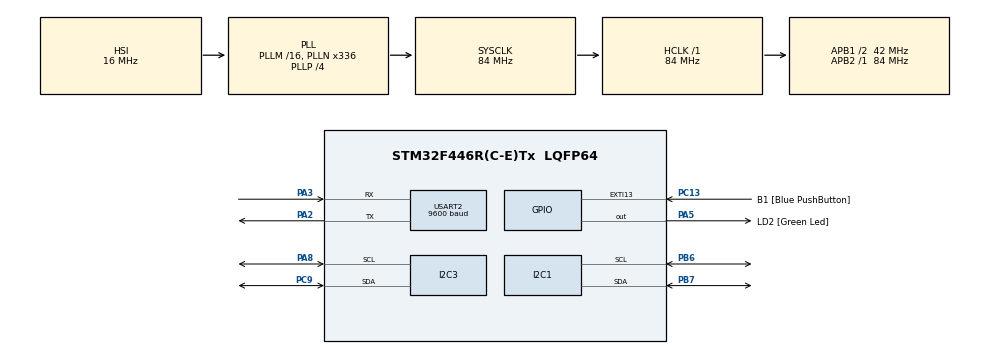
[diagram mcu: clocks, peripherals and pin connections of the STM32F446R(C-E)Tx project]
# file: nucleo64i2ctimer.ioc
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Mcu.Family=STM32F4
Mcu.Name=STM32F446R(C-E)Tx
Mcu.Package=LQFP64
NVIC.PriorityGroup=NVIC_PRIORITYGROUP_0
NVIC.TIM6_DAC_IRQn=true\:0\:0\:false\:false\:true\:true\:true
PA13.GPIO_Label=TMS
PA13.Mode=Trace_Asynchronous_SW
PA13.Signal=SYS_JTMS-SWDIO
PA14.GPIO_Label=TCK
PA14.Mode=Trace_Asynchronous_SW
PA14.Signal=SYS_JTCK-SWCLK
PA2.Mode=Asynchronous
PA2.Signal=USART2_TX
PA3.Mode=Asynchronous
PA3.Signal=USART2_RX
PA5.GPIO_Label=LD2 [Green Led]
PA5.Signal=GPIO_Output
PA8.Mode=I2C
PA8.Signal=I2C3_SCL
PB3.GPIO_Label=SWO
PB3.Mode=Trace_Asynchronous_SW
PB3.Signal=SYS_JTDO-SWO
PB6.Mode=I2C
PB6.Signal=I2C1_SCL
PB7.Mode=I2C
PB7.Signal=I2C1_SDA
PC13.GPIO_Label=B1 [Blue PushButton]
PC13.GPIO_ModeDefaultEXTI=GPIO_MODE_IT_FALLING
PC13.Signal=GPXTI13
PC14-OSC32_IN.Mode=LSE-External-Oscillator
PC14-OSC32_IN.Signal=RCC_OSC32_IN
PC15-OSC32_OUT.Mode=LSE-External-Oscillator
PC15-OSC32_OUT.Signal=RCC_OSC32_OUT
PC9.Mode=I2C
PC9.Signal=I2C3_SDA
PH0-OSC_IN.Mode=HSE-External-Oscillator
PH0-OSC_IN.Signal=RCC_OSC_IN
PH1-OSC_OUT.Mode=HSE-External-Oscillator
PH1-OSC_OUT.Signal=RCC_OSC_OUT
ProjectManager.HeapSize=0x200
ProjectManager.StackSize=0x400
ProjectManager.TargetToolchain=MDK-ARM V5.27
RCC.48MHZClocksFreq_Value=84000000
RCC.AHBFreq_Value=84000000
RCC.APB1CLKDivider=RCC_HCLK_DIV2
RCC.APB1Freq_Value=42000000
RCC.APB1TimFreq_Value=84000000
RCC.APB2Freq_Value=84000000
RCC.APB2TimFreq_Value=84000000
RCC.CortexFreq_Value=84000000
RCC.FLatency-AdvancedSettings=FLASH_LATENCY_2
RCC.HCLKFreq_Value=84000000
RCC.HSE_VALUE=8000000
RCC.HSI_VALUE=16000000
RCC.PLLN=336
RCC.PLLP=RCC_PLLP_DIV4
RCC.SYSCLKFreq_VALUE=84000000
RCC.SYSCLKSource=RCC_SYSCLKSOURCE_PLLCLK
RCC.USBFreq_Value=168000000
RCC.VCOOutputFreq_Value=336000000
TIM6.Period=999
TIM6.Prescaler=41999
USART2.BaudRate=9600
USART2.VirtualMode=VM_ASYNC
VP_TIM6_VS_ClockSourceINT.Mode=Enable_Timer
board=NUCLEO-F446RE

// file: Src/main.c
/* USER CODE BEGIN Header */
/**
  ******************************************************************************
  * @file           : main.c
  * @brief          : Main program body
  ******************************************************************************
  * @attention
  *
  * <h2><center>&copy; Copyright (c) 2019 STMicroelectronics.
  * All rights reserved.</center></h2>
  *
  * This software component is licensed by ST under BSD 3-Clause license,
  * the "License"; You may not use this file except in compliance with the
  * License. You may obtain a copy of the License at:
  *                        opensource.org/licenses/BSD-3-Clause
  *
  ******************************************************************************
  */
/* USER CODE END Header */

#include "main.h"
/* USER CODE BEGIN Includes */
#include "stdio.h"
#define MPU9265ADRESS 0xD0
/* USER CODE END Includes */

I2C_HandleTypeDef hi2c1;
I2C_HandleTypeDef hi2c3;

TIM_HandleTypeDef htim6;

UART_HandleTypeDef huart2;

/* USER CODE BEGIN PV */

float data[6];
char uartmatlab[100];

/* USER CODE END PV */

void SystemClock_Config(void);
static void MX_GPIO_Init(void);
static void MX_I2C3_Init(void);
static void MX_TIM6_Init(void);
static void MX_I2C1_Init(void);
static void MX_USART2_UART_Init(void);
/* USER CODE BEGIN PFP */

void getSensor(void);
void initSensor(void);
void printSensor(void);

/* USER CODE END PFP */

int main(void)
{

  /* MCU Configuration--------------------------------------------------------*/

  /* Reset of all peripherals, Initializes the Flash interface and the Systick. */
  HAL_Init();

  /* Configure the system clock */
  SystemClock_Config();

  /* Initialize all configured peripherals */
  MX_GPIO_Init();
  MX_I2C3_Init();
  MX_TIM6_Init();
  MX_I2C1_Init();
  MX_USART2_UART_Init();
  /* USER CODE BEGIN 2 */
	initSensor();
	//uint8_t check = 0;
  /* USER CODE END 2 */

  /* Infinite loop */
  /* USER CODE BEGIN WHILE */
  while (1)
  {

/*
		HAL_I2C_Mem_Read(&hi2c1,0xD0,0x75,1,&check,1,1000);
		printf("%d \n",check);
		HAL_Delay(1000);

*/
    /* USER CODE END WHILE */

  }
}

void SystemClock_Config(void)
{
  RCC_OscInitTypeDef RCC_OscInitStruct = {0};
  RCC_ClkInitTypeDef RCC_ClkInitStruct = {0};

  /** Configure the main internal regulator output voltage
  */
  __HAL_RCC_PWR_CLK_ENABLE();
  __HAL_PWR_VOLTAGESCALING_CONFIG(PWR_REGULATOR_VOLTAGE_SCALE3);
  /** Initializes the CPU, AHB and APB busses clocks
  */
  RCC_OscInitStruct.OscillatorType = RCC_OSCILLATORTYPE_HSI;
  RCC_OscInitStruct.HSIState = RCC_HSI_ON;
  RCC_OscInitStruct.HSICalibrationValue = RCC_HSICALIBRATION_DEFAULT;
  RCC_OscInitStruct.PLL.PLLState = RCC_PLL_ON;
  RCC_OscInitStruct.PLL.PLLSource = RCC_PLLSOURCE_HSI;
  RCC_OscInitStruct.PLL.PLLM = 16;
  RCC_OscInitStruct.PLL.PLLN = 336;
  RCC_OscInitStruct.PLL.PLLP = RCC_PLLP_DIV4;
  RCC_OscInitStruct.PLL.PLLQ = 2;
  RCC_OscInitStruct.PLL.PLLR = 2;
  if (HAL_RCC_OscConfig(&RCC_OscInitStruct) != HAL_OK)
  {
    Error_Handler();
  }
  /** Initializes the CPU, AHB and APB busses clocks
  */
  RCC_ClkInitStruct.ClockType = RCC_CLOCKTYPE_HCLK|RCC_CLOCKTYPE_SYSCLK
                              |RCC_CLOCKTYPE_PCLK1|RCC_CLOCKTYPE_PCLK2;
  RCC_ClkInitStruct.SYSCLKSource = RCC_SYSCLKSOURCE_PLLCLK;
  RCC_ClkInitStruct.AHBCLKDivider = RCC_SYSCLK_DIV1;
  RCC_ClkInitStruct.APB1CLKDivider = RCC_HCLK_DIV2;
  RCC_ClkInitStruct.APB2CLKDivider = RCC_HCLK_DIV1;

  if (HAL_RCC_ClockConfig(&RCC_ClkInitStruct, FLASH_LATENCY_2) != HAL_OK)
  {
    Error_Handler();
  }
}

static void MX_I2C1_Init(void)
{

  hi2c1.Instance = I2C1;
  hi2c1.Init.ClockSpeed = 100000;
  hi2c1.Init.DutyCycle = I2C_DUTYCYCLE_2;
  hi2c1.Init.OwnAddress1 = 0;
  hi2c1.Init.AddressingMode = I2C_ADDRESSINGMODE_7BIT;
  hi2c1.Init.DualAddressMode = I2C_DUALADDRESS_DISABLE;
  hi2c1.Init.OwnAddress2 = 0;
  hi2c1.Init.GeneralCallMode = I2C_GENERALCALL_DISABLE;
  hi2c1.Init.NoStretchMode = I2C_NOSTRETCH_DISABLE;
  if (HAL_I2C_Init(&hi2c1) != HAL_OK)
  {
    Error_Handler();
  }

}

static void MX_I2C3_Init(void)
{

  hi2c3.Instance = I2C3;
  hi2c3.Init.ClockSpeed = 100000;
  hi2c3.Init.DutyCycle = I2C_DUTYCYCLE_2;
  hi2c3.Init.OwnAddress1 = 0;
  hi2c3.Init.AddressingMode = I2C_ADDRESSINGMODE_7BIT;
  hi2c3.Init.DualAddressMode = I2C_DUALADDRESS_DISABLE;
  hi2c3.Init.OwnAddress2 = 0;
  hi2c3.Init.GeneralCallMode = I2C_GENERALCALL_DISABLE;
  hi2c3.Init.NoStretchMode = I2C_NOSTRETCH_DISABLE;
  if (HAL_I2C_Init(&hi2c3) != HAL_OK)
  {
    Error_Handler();
  }

}

static void MX_TIM6_Init(void)
{

  TIM_MasterConfigTypeDef sMasterConfig = {0};

  htim6.Instance = TIM6;
  htim6.Init.Prescaler = 41999;
  htim6.Init.CounterMode = TIM_COUNTERMODE_UP;
  htim6.Init.Period = 499;
  htim6.Init.AutoReloadPreload = TIM_AUTORELOAD_PRELOAD_DISABLE;
  if (HAL_TIM_Base_Init(&htim6) != HAL_OK)
  {
    Error_Handler();
  }
  sMasterConfig.MasterOutputTrigger = TIM_TRGO_RESET;
  sMasterConfig.MasterSlaveMode = TIM_MASTERSLAVEMODE_DISABLE;
  if (HAL_TIMEx_MasterConfigSynchronization(&htim6, &sMasterConfig) != HAL_OK)
  {
    Error_Handler();
  }

}

static void MX_USART2_UART_Init(void)
{

  huart2.Instance = USART2;
  huart2.Init.BaudRate = 9600;
  huart2.Init.WordLength = UART_WORDLENGTH_8B;
  huart2.Init.StopBits = UART_STOPBITS_1;
  huart2.Init.Parity = UART_PARITY_NONE;
  huart2.Init.Mode = UART_MODE_TX_RX;
  huart2.Init.HwFlowCtl = UART_HWCONTROL_NONE;
  huart2.Init.OverSampling = UART_OVERSAMPLING_16;
  if (HAL_UART_Init(&huart2) != HAL_OK)
  {
    Error_Handler();
  }

}

static void MX_GPIO_Init(void)
{
  GPIO_InitTypeDef GPIO_InitStruct = {0};

  /* GPIO Ports Clock Enable */
  __HAL_RCC_GPIOC_CLK_ENABLE();
  __HAL_RCC_GPIOH_CLK_ENABLE();
  __HAL_RCC_GPIOA_CLK_ENABLE();
  __HAL_RCC_GPIOB_CLK_ENABLE();

  /*Configure GPIO pin Output Level */
  HAL_GPIO_WritePin(LD2_GPIO_Port, LD2_Pin, GPIO_PIN_RESET);

  /*Configure GPIO pin : B1_Pin */
  GPIO_InitStruct.Pin = B1_Pin;
  GPIO_InitStruct.Mode = GPIO_MODE_IT_FALLING;
  GPIO_InitStruct.Pull = GPIO_NOPULL;
  HAL_GPIO_Init(B1_GPIO_Port, &GPIO_InitStruct);

  /*Configure GPIO pin : LD2_Pin */
  GPIO_InitStruct.Pin = LD2_Pin;
  GPIO_InitStruct.Mode = GPIO_MODE_OUTPUT_PP;
  GPIO_InitStruct.Pull = GPIO_NOPULL;
  GPIO_InitStruct.Speed = GPIO_SPEED_FREQ_LOW;
  HAL_GPIO_Init(LD2_GPIO_Port, &GPIO_InitStruct);

}

/* USER CODE BEGIN 4 */

void HAL_TIM_PeriodElapsedCallback(TIM_HandleTypeDef *htim)
{
  /* Prevent unused argument(s) compilation warning */
	if(htim->Instance == TIM6)
		getSensor();
		printSensor();
	HAL_GPIO_TogglePin(LD2_GPIO_Port, LD2_Pin);

  /* NOTE : This function should not be modified, when the callback is needed,
            the HAL_TIM_PeriodElapsedCallback could be implemented in the user file
   */
}

void getSensor(){

		uint8_t i2cBuf[14] ;
		int16_t ax,ay,az,gx,gy,gz;
		int16_t temp;
		float Temperature;

		HAL_I2C_Mem_Read(&hi2c1,MPU9265ADRESS,0x3B,1,i2cBuf,14,100);

		ax = -(i2cBuf[0] << 8 | i2cBuf[1]);
		ay = -(i2cBuf[2] << 8 | i2cBuf[3]);
		az =  (i2cBuf[4] << 8 | i2cBuf[5]);

		data[0] = ax / 2048.0;
		data[1] = ay / 2048.0;
		data[2] = az / 2048.0;

		temp = (i2cBuf[6] << 8 | i2cBuf[7]);
		Temperature = (temp/340.0)+36.53;
		printf("%f\n",Temperature);

		gx = -(int16_t)(i2cBuf[8] << 8 | i2cBuf[9]);
		gy = -(int16_t)(i2cBuf[10] << 8 | i2cBuf[11]);
		gz =  (int16_t)(i2cBuf[12] << 8 | i2cBuf[13]);

		data[3] = gx / 16.4;
		data[4] = gy / 16.4;
		data[5] = gz / 16.4	;

}

void initSensor(void){

	uint8_t temp ;

	temp = 0;
	HAL_I2C_Mem_Write(&hi2c1, MPU9265ADRESS, 0x6B, 1,&temp, 1, 100);

	temp=0x07;
	HAL_I2C_Mem_Write(&hi2c1, MPU9265ADRESS, 0x19, 1,&temp, 1, 100);

	temp =0x18;
	HAL_I2C_Mem_Write(&hi2c1, MPU9265ADRESS,0x1B, 1,&temp, 1, 100);

	temp=0x18;
	HAL_I2C_Mem_Write(&hi2c1, MPU9265ADRESS,0x1C, 1,&temp, 1, 100);

	HAL_TIM_Base_Start_IT(&htim6);
}

void printSensor(){

	printf("--------\n");
	printf("Acc :\t %.6f \t %f \t %f \t \n",data[0],data[1],data[2]);
	printf("Gyro :\t %.6f \t %f \t %f \t \n",data[3],data[4],data[5]);

	/*
	sprintf(uartmatlab ,"%f %f %f %f %f %f\n",data[0],data[1],data[2],data[3],data[4],data[5]);

	HAL_UART_Transmit(&huart2,(uint8_t*)uartmatlab,100,100);
	*/
}

/* USER CODE END 4 */

void Error_Handler(void)
{
}

/************************ (C) COPYRIGHT STMicroelectronics *****END OF FILE****/
